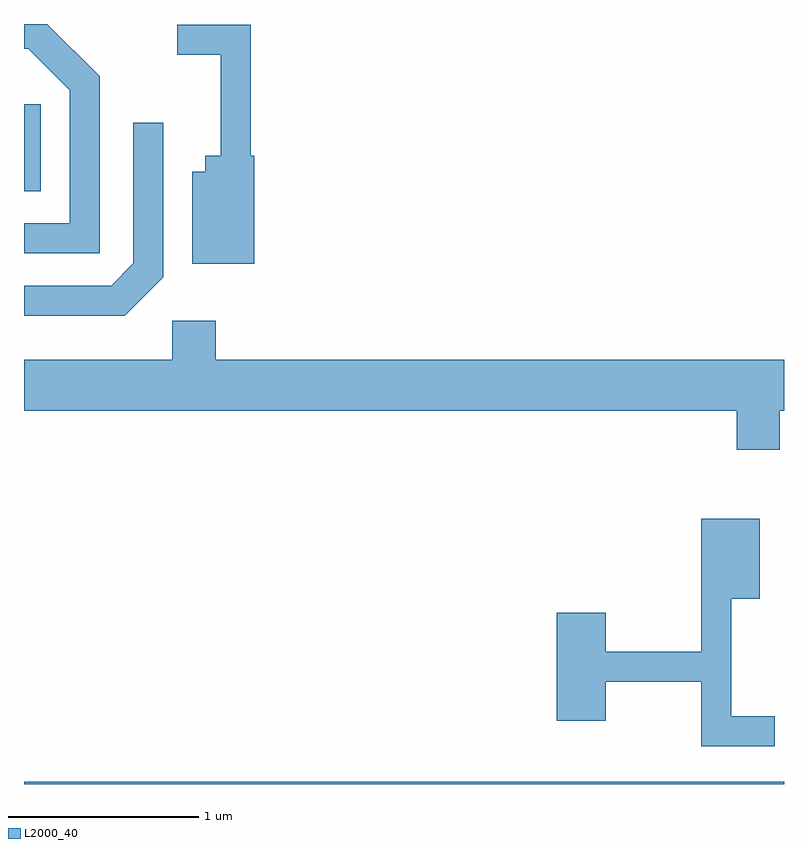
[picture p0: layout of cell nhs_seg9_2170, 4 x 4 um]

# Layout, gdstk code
import gdstk
lib = gdstk.Library(unit=1e-6, precision=1e-09)
def R(c, l, rs):  # rectangles x0, y0, x1, y1
    for r in rs: c.add(gdstk.rectangle(r[:2], r[2:], *l))
def P(c, l, *ps):  # polygons
    for p in ps: c.add(gdstk.Polygon(p, *l))
L2000_40 = (2000, 40)

nhs_seg9_2170 = lib.new_cell('nhs_seg9_2170')
R(nhs_seg9_2170, L2000_40, [(247.611,2076.432,251.611,2076.444), (247.611,2079.551,247.699,2080.009)])
P(nhs_seg9_2170, L2000_40, [(248.009,2080.157),(247.734,2080.432),(247.611,2080.432),(247.611,2080.301),(247.634,2080.301),(247.851,2080.084),(247.851,2079.384),(247.611,2079.384),(247.611,2079.226),(248.009,2079.226)],
  [(248.824,2079.739),(248.804,2079.739),(248.804,2080.429),(248.418,2080.429),(248.418,2080.271),(248.646,2080.271),(248.646,2079.739),(248.566,2079.739),(248.566,2079.654),(248.496,2079.654),(248.496,2079.171),(248.824,2079.171)],
  [(248.344,2079.099),(248.344,2079.913),(248.186,2079.913),(248.186,2079.172),(248.069,2079.054),(247.611,2079.054),(247.611,2078.896),(248.142,2078.896)],
  [(251.589,2078.396),(251.611,2078.396),(251.611,2078.664),(248.619,2078.664),(248.619,2078.869),(248.391,2078.869),(248.391,2078.664),(247.611,2078.664),(247.611,2078.396),(251.361,2078.396),(251.361,2078.191),(251.589,2078.191)],
  [(251.563,2076.789),(251.334,2076.789),(251.334,2077.406),(251.484,2077.406),(251.484,2077.829),(251.176,2077.829),(251.176,2077.129),(250.674,2077.129),(250.674,2077.334),(250.416,2077.334),(250.416,2076.766),(250.674,2076.766),(250.674,2076.971),(251.176,2076.971),(251.176,2076.631),(251.563,2076.631)])

lib.write_gds('nhs_seg9_2170.gds')
